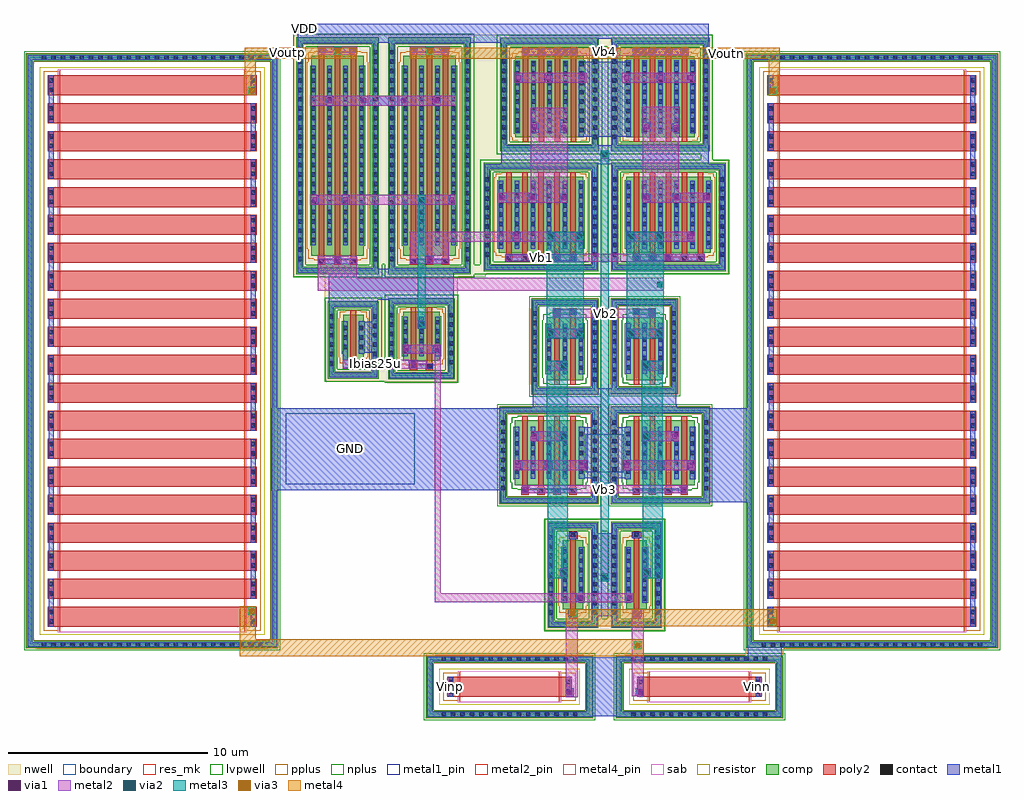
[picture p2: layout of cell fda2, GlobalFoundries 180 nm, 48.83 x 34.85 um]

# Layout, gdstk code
from math import pi, radians
import gdstk
lib = gdstk.Library(unit=1e-6, precision=1e-09)
def R(c, l, rs):  # rectangles x0, y0, x1, y1
    for r in rs: c.add(gdstk.rectangle(r[:2], r[2:], *l))
def A(c, l, x, y, w, h, nx, ny, dx, dy):  # array of equal rectangles
    R(c, l, [(x+i*dx, y+j*dy, x+i*dx+w, y+j*dy+h) for i in range(nx) for j in range(ny)])
boundary = (0, 0)
nwell = (21, 0)
comp = (22, 0)
poly2 = (30, 0)
pplus = (31, 0)
nplus = (32, 0)
contact = (33, 0)
metal1 = (34, 0)
metal1_pin = (34, 10)
via1 = (35, 0)
metal2 = (36, 0)
metal2_pin = (36, 10)
via2 = (38, 0)
via3 = (40, 0)
metal3 = (42, 0)
metal4 = (46, 0)
metal4_pin = (46, 10)
sab = (49, 0)
resistor = (62, 0)
res_mk = (110, 5)
lvpwell = (204, 0)

ppolyf_u_1k_sbhpz7 = lib.new_cell('ppolyf_u_1k_SBHPZ7')
R(ppolyf_u_1k_sbhpz7, boundary, [(-1.38,-3.99,1.38,3.99)])
R(ppolyf_u_1k_sbhpz7, comp, [(-1.56,-4.17,1.56,-3.81), (-1.56,-3.81,-1.2,3.81), (1.2,-3.81,1.56,3.81), (-1.56,3.81,1.56,4.17)])
R(ppolyf_u_1k_sbhpz7, poly2, [(-0.5,-3.11,0.5,3.11)])
R(ppolyf_u_1k_sbhpz7, pplus, [(-1.58,-4.19,1.58,-3.79), (-1.58,-3.79,-1.17,-3.685), (1.17,-3.79,1.58,-3.685), (-1.59,-3.685,-1.17,3.685), (1.17,-3.685,1.59,3.685), (-0.7,-3.31,0.7,-2.5), (-0.7,2.5,0.7,3.31), (-1.58,3.685,-1.17,3.79), (1.17,3.685,1.58,3.79), (-1.58,3.79,1.58,4.19)])
A(ppolyf_u_1k_sbhpz7, contact, -1.49, -3.4, 0.22, 0.22, 1, 15, 0, 0.47)
A(ppolyf_u_1k_sbhpz7, contact, 1.27, -3.4, 0.22, 0.22, 1, 15, 0, 0.47)
R(ppolyf_u_1k_sbhpz7, contact, [(-0.345,-3.04,-0.125,-2.82), (0.125,-3.04,0.345,-2.82), (-0.345,2.82,-0.125,3.04), (0.125,2.82,0.345,3.04)])
R(ppolyf_u_1k_sbhpz7, metal1, [(-1.495,-4.105,1.495,-3.875), (-1.495,-3.875,-1.265,3.875), (1.265,-3.875,1.495,3.875), (-0.49,-3.045,0.49,-2.815), (-0.49,2.815,0.49,3.045), (-1.495,3.875,1.495,4.105)])
R(ppolyf_u_1k_sbhpz7, sab, [(-0.78,-2.6,0.78,2.6), (-0.78,-2.5,0.78,2.5)])
R(ppolyf_u_1k_sbhpz7, resistor, [(-0.9,-3.51,0.9,3.51)])
R(ppolyf_u_1k_sbhpz7, res_mk, [(-0.78,-2.5,0.78,2.5), (-0.5,-2.5,0.5,2.5)])
R(ppolyf_u_1k_sbhpz7, lvpwell, [(-1.68,-4.29,1.68,4.29)])

ppolyf_u_1k_h7p4bw = lib.new_cell('ppolyf_u_1k_H7P4BW')
R(ppolyf_u_1k_h7p4bw, boundary, [(-14.68,-6.115,14.68,6.115)])
R(ppolyf_u_1k_h7p4bw, comp, [(-14.86,-6.295,14.86,-5.935), (-14.86,-5.935,-14.5,5.935), (14.5,-5.935,14.86,5.935), (-14.86,5.935,14.86,6.295)])
A(ppolyf_u_1k_h7p4bw, poly2, -13.8, -5.235, 1, 10.47, 20, 1, 1.4, 0)
R(ppolyf_u_1k_h7p4bw, pplus, [(-14.88,-6.315,14.88,-5.915), (-14.88,-5.915,-14.47,-5.81), (14.47,-5.915,14.88,-5.81), (-14.89,-5.81,-14.47,5.81), (14.47,-5.81,14.89,5.81), (-14,-5.435,14,-4.625), (-14,4.625,14,5.435), (-14.88,5.81,-14.47,5.915), (14.47,5.81,14.88,5.915), (-14.88,5.915,14.88,6.315)])
A(ppolyf_u_1k_h7p4bw, contact, -14.79, -5.515, 0.22, 0.22, 1, 24, 0, 0.47)
A(ppolyf_u_1k_h7p4bw, contact, 14.57, -5.515, 0.22, 0.22, 1, 24, 0, 0.47)
R(ppolyf_u_1k_h7p4bw, contact, [(-13.645,-5.165,-13.425,-4.945), (-13.175,-5.165,-12.955,-4.945), (-12.245,-5.165,-12.025,-4.945), (-11.775,-5.165,-11.555,-4.945), (-10.845,-5.165,-10.625,-4.945), (-10.375,-5.165,-10.155,-4.945), (-9.445,-5.165,-9.225,-4.945), (-8.975,-5.165,-8.755,-4.945), (-8.045,-5.165,-7.825,-4.945), (-7.575,-5.165,-7.355,-4.945), (-6.645,-5.165,-6.425,-4.945), (-6.175,-5.165,-5.955,-4.945), (-5.245,-5.165,-5.025,-4.945), (-4.775,-5.165,-4.555,-4.945), (-3.845,-5.165,-3.625,-4.945), (-3.375,-5.165,-3.155,-4.945), (-2.445,-5.165,-2.225,-4.945), (-1.975,-5.165,-1.755,-4.945), (-1.045,-5.165,-0.825,-4.945), (-0.575,-5.165,-0.355,-4.945), (0.355,-5.165,0.575,-4.945), (0.825,-5.165,1.045,-4.945), (1.755,-5.165,1.975,-4.945), (2.225,-5.165,2.445,-4.945), (3.155,-5.165,3.375,-4.945), (3.625,-5.165,3.845,-4.945), (4.555,-5.165,4.775,-4.945), (5.025,-5.165,5.245,-4.945), (5.955,-5.165,6.175,-4.945), (6.425,-5.165,6.645,-4.945), (7.355,-5.165,7.575,-4.945), (7.825,-5.165,8.045,-4.945), (8.755,-5.165,8.975,-4.945), (9.225,-5.165,9.445,-4.945), (10.155,-5.165,10.375,-4.945), (10.625,-5.165,10.845,-4.945), (11.555,-5.165,11.775,-4.945), (12.025,-5.165,12.245,-4.945), (12.955,-5.165,13.175,-4.945), (13.425,-5.165,13.645,-4.945), (-13.645,4.945,-13.425,5.165), (-13.175,4.945,-12.955,5.165), (-12.245,4.945,-12.025,5.165), (-11.775,4.945,-11.555,5.165), (-10.845,4.945,-10.625,5.165), (-10.375,4.945,-10.155,5.165), (-9.445,4.945,-9.225,5.165), (-8.975,4.945,-8.755,5.165), (-8.045,4.945,-7.825,5.165), (-7.575,4.945,-7.355,5.165), (-6.645,4.945,-6.425,5.165), (-6.175,4.945,-5.955,5.165), (-5.245,4.945,-5.025,5.165), (-4.775,4.945,-4.555,5.165), (-3.845,4.945,-3.625,5.165), (-3.375,4.945,-3.155,5.165), (-2.445,4.945,-2.225,5.165), (-1.975,4.945,-1.755,5.165), (-1.045,4.945,-0.825,5.165), (-0.575,4.945,-0.355,5.165), (0.355,4.945,0.575,5.165), (0.825,4.945,1.045,5.165), (1.755,4.945,1.975,5.165), (2.225,4.945,2.445,5.165), (3.155,4.945,3.375,5.165), (3.625,4.945,3.845,5.165), (4.555,4.945,4.775,5.165), (5.025,4.945,5.245,5.165), (5.955,4.945,6.175,5.165), (6.425,4.945,6.645,5.165), (7.355,4.945,7.575,5.165), (7.825,4.945,8.045,5.165), (8.755,4.945,8.975,5.165), (9.225,4.945,9.445,5.165), (10.155,4.945,10.375,5.165), (10.625,4.945,10.845,5.165), (11.555,4.945,11.775,5.165), (12.025,4.945,12.245,5.165), (12.955,4.945,13.175,5.165), (13.425,4.945,13.645,5.165)])
A(ppolyf_u_1k_h7p4bw, metal1, -13.79, -5.17, 0.98, 0.23, 20, 2, 1.4, 10.11)
R(ppolyf_u_1k_h7p4bw, metal1, [(-14.795,-6.23,14.795,-6), (-14.795,-6,-14.565,6), (14.565,-6,14.795,6), (-14.795,6,14.795,6.23)])
R(ppolyf_u_1k_h7p4bw, sab, [(-14.08,-4.725,14.08,4.725), (-14.08,-4.625,14.08,4.625)])
R(ppolyf_u_1k_h7p4bw, resistor, [(-14.2,-5.635,14.2,5.635)])
A(ppolyf_u_1k_h7p4bw, res_mk, -13.8, -4.625, 1, 9.25, 20, 1, 1.4, 0)
R(ppolyf_u_1k_h7p4bw, res_mk, [(-14.08,-4.625,14.08,4.625)])
R(ppolyf_u_1k_h7p4bw, lvpwell, [(-14.98,-6.415,14.98,6.415)])

nfet_03v3_h55z6x = lib.new_cell('nfet_03v3_H55Z6X')
R(nfet_03v3_h55z6x, boundary, [(-2.29,-2.255,2.29,2.255)])
R(nfet_03v3_h55z6x, comp, [(-2.47,-2.435,2.47,-2.075), (-2.47,-2.075,-2.11,2.075), (2.11,-2.075,2.47,2.075), (-1.715,-1.505,1.715,-1.195), (-1.78,-1.195,1.78,1.435), (-1.715,1.435,1.715,1.745), (-2.47,2.075,2.47,2.435)])
A(nfet_03v3_h55z6x, poly2, -1.38, -1.965, 0.36, 0.36, 4, 1, 0.8, 0)
A(nfet_03v3_h55z6x, poly2, -1.34, -1.605, 0.28, 3.57, 4, 1, 0.8, 0)
R(nfet_03v3_h55z6x, pplus, [(-2.49,-2.455,2.49,-2.055), (-2.49,-2.055,-2.08,-1.95), (2.08,-2.055,2.49,-1.95), (-2.5,-1.95,-2.08,1.95), (2.08,-1.95,2.5,1.95), (-2.49,1.95,-2.08,2.055), (2.08,1.95,2.49,2.055), (-2.49,2.055,2.49,2.455)])
R(nfet_03v3_h55z6x, nplus, [(-1.57,-1.735,1.57,-1.665), (-1.875,-1.665,1.875,-1.355), (-1.94,-1.355,1.94,1.595), (-1.875,1.595,1.875,1.905), (-1.57,1.905,1.57,1.975)])
A(nfet_03v3_h55z6x, contact, -1.31, -1.895, 0.22, 0.22, 4, 1, 0.8, 0)
A(nfet_03v3_h55z6x, contact, -2.4, -1.755, 0.22, 0.22, 1, 8, 0, 0.47)
A(nfet_03v3_h55z6x, contact, 2.18, -1.755, 0.22, 0.22, 1, 8, 0, 0.47)
A(nfet_03v3_h55z6x, contact, -1.71, -0.93, 0.22, 0.22, 5, 5, 0.8, 0.47)
A(nfet_03v3_h55z6x, metal1, -1.37, -1.9, 0.34, 0.23, 4, 1, 0.8, 0)
A(nfet_03v3_h55z6x, metal1, -1.715, -1.185, 0.23, 2.61, 5, 1, 0.8, 0)
R(nfet_03v3_h55z6x, metal1, [(-2.405,-2.37,2.405,-2.14), (-2.405,-2.14,-2.175,2.14), (2.175,-2.14,2.405,2.14), (-2.405,2.14,2.405,2.37)])
R(nfet_03v3_h55z6x, lvpwell, [(-2.59,-2.555,2.59,2.555)])

nfet_03v3_q9t6p6 = lib.new_cell('nfet_03v3_Q9T6P6')
R(nfet_03v3_q9t6p6, boundary, [(-1.49,-2.205,1.49,2.205)])
R(nfet_03v3_q9t6p6, comp, [(-1.67,-2.385,1.67,-2.025), (-1.67,-2.025,-1.31,2.025), (1.31,-2.025,1.67,2.025), (-0.915,-1.695,0.915,-1.395), (-0.98,-1.395,0.98,1.155), (-0.915,1.155,0.915,1.455), (-1.67,2.025,1.67,2.385)])
R(nfet_03v3_q9t6p6, poly2, [(-0.54,-1.915,-0.26,1.555), (0.26,-1.915,0.54,1.555), (-0.58,1.555,-0.22,1.915), (0.22,1.555,0.58,1.915)])
R(nfet_03v3_q9t6p6, pplus, [(-1.69,-2.405,1.69,-2.005), (-1.69,-2.005,-1.28,-1.9), (1.28,-2.005,1.69,-1.9), (-1.7,-1.9,-1.28,1.9), (1.28,-1.9,1.7,1.9), (-1.69,1.9,-1.28,2.005), (1.28,1.9,1.69,2.005), (-1.69,2.005,1.69,2.405)])
R(nfet_03v3_q9t6p6, nplus, [(-0.77,-1.925,0.77,-1.855), (-1.075,-1.855,1.075,-1.555), (-1.14,-1.555,1.14,1.315), (-1.075,1.315,1.075,1.615), (-0.77,1.615,0.77,1.685)])
A(nfet_03v3_q9t6p6, contact, -1.6, -1.755, 0.22, 0.22, 1, 8, 0, 0.47)
A(nfet_03v3_q9t6p6, contact, 1.38, -1.755, 0.22, 0.22, 1, 8, 0, 0.47)
A(nfet_03v3_q9t6p6, contact, -0.91, -1.17, 0.22, 0.22, 3, 5, 0.8, 0.47)
R(nfet_03v3_q9t6p6, contact, [(-0.51,1.625,-0.29,1.845), (0.29,1.625,0.51,1.845)])
A(nfet_03v3_q9t6p6, metal1, -0.915, -1.385, 0.23, 2.53, 3, 1, 0.8, 0)
R(nfet_03v3_q9t6p6, metal1, [(-1.605,-2.32,1.605,-2.09), (-1.605,-2.09,-1.375,2.09), (1.375,-2.09,1.605,2.09), (-0.57,1.62,-0.23,1.85), (0.23,1.62,0.57,1.85), (-1.605,2.09,1.605,2.32)])
R(nfet_03v3_q9t6p6, lvpwell, [(-1.79,-2.505,1.79,2.505)])

pfet_03v3_2jhb2g = lib.new_cell('pfet_03v3_2JHB2G')
R(pfet_03v3_2jhb2g, boundary, [(-1.09,-2.475,1.09,2.475)])
R(pfet_03v3_2jhb2g, nwell, [(-1.39,-2.775,1.39,2.775)])
R(pfet_03v3_2jhb2g, comp, [(-1.27,-2.655,1.27,-2.295), (-1.27,-2.295,-0.91,2.295), (0.91,-2.295,1.27,2.295), (-0.515,-1.725,0.515,-1.395), (-0.58,-1.395,0.58,1.395), (-0.515,1.395,0.515,1.725), (-1.27,2.295,1.27,2.655)])
R(pfet_03v3_2jhb2g, poly2, [(-0.18,-2.185,0.18,-1.825), (-0.14,-1.825,0.14,1.825), (-0.18,1.825,0.18,2.185)])
R(pfet_03v3_2jhb2g, pplus, [(-0.37,-1.955,0.37,-1.885), (-0.675,-1.885,0.675,-1.555), (-0.74,-1.555,0.74,1.555), (-0.675,1.555,0.675,1.885), (-0.37,1.885,0.37,1.955)])
R(pfet_03v3_2jhb2g, nplus, [(-1.43,-2.815,1.43,-2.185), (-1.43,-2.185,-0.8,2.185), (0.8,-2.185,1.43,2.185), (-1.43,2.185,1.43,2.815)])
A(pfet_03v3_2jhb2g, contact, -1.2, -1.99, 0.22, 0.22, 1, 9, 0, 0.47)
A(pfet_03v3_2jhb2g, contact, 0.98, -1.99, 0.22, 0.22, 1, 9, 0, 0.47)
A(pfet_03v3_2jhb2g, contact, -0.51, -1.285, 0.22, 0.22, 1, 6, 0, 0.47)
A(pfet_03v3_2jhb2g, contact, 0.29, -1.285, 0.22, 0.22, 1, 6, 0, 0.47)
R(pfet_03v3_2jhb2g, contact, [(-0.11,-2.115,0.11,-1.895), (-0.11,1.895,0.11,2.115)])
R(pfet_03v3_2jhb2g, metal1, [(-1.205,-2.59,1.205,-2.36), (-1.205,-2.36,-0.975,2.36), (0.975,-2.36,1.205,2.36), (-0.17,-2.12,0.17,-1.89), (-0.515,-1.385,-0.285,1.385), (0.285,-1.385,0.515,1.385), (-0.17,1.89,0.17,2.12), (-1.205,2.36,1.205,2.59)])

pfet_03v3_9x9wzq = lib.new_cell('pfet_03v3_9X9WZQ')
R(pfet_03v3_9x9wzq, boundary, [(-1.89,-5.75,1.89,5.75)])
R(pfet_03v3_9x9wzq, nwell, [(-2.19,-6.05,2.19,6.05)])
R(pfet_03v3_9x9wzq, comp, [(-2.07,-5.93,2.07,-5.57), (-2.07,-5.57,-1.71,5.57), (1.71,-5.57,2.07,5.57), (-1.315,-5,1.315,-4.505), (-1.38,-4.505,1.38,4.505), (-1.315,4.505,1.315,5), (-2.07,5.57,2.07,5.93)])
A(pfet_03v3_9x9wzq, poly2, -0.98, -5.46, 0.36, 0.36, 3, 2, 0.8, 10.56)
A(pfet_03v3_9x9wzq, poly2, -0.94, -5.1, 0.28, 10.2, 3, 1, 0.8, 0)
R(pfet_03v3_9x9wzq, pplus, [(-1.17,-5.23,1.17,-5.16), (-1.475,-5.16,1.475,-4.665), (-1.54,-4.665,1.54,4.665), (-1.475,4.665,1.475,5.16), (-1.17,5.16,1.17,5.23)])
R(pfet_03v3_9x9wzq, nplus, [(-2.23,-6.09,2.23,-5.46), (-2.23,-5.46,-1.6,5.46), (1.6,-5.46,2.23,5.46), (-2.23,5.46,2.23,6.09)])
A(pfet_03v3_9x9wzq, contact, -0.91, -5.39, 0.22, 0.22, 3, 2, 0.8, 10.56)
A(pfet_03v3_9x9wzq, contact, -2, -5.28, 0.22, 0.22, 1, 23, 0, 0.47)
A(pfet_03v3_9x9wzq, contact, 1.78, -5.28, 0.22, 0.22, 1, 23, 0, 0.47)
A(pfet_03v3_9x9wzq, contact, -1.31, -4.34, 0.22, 0.22, 4, 19, 0.8, 0.47)
A(pfet_03v3_9x9wzq, metal1, -0.97, -5.395, 0.34, 0.23, 3, 2, 0.8, 10.56)
A(pfet_03v3_9x9wzq, metal1, -1.315, -4.495, 0.23, 8.99, 4, 1, 0.8, 0)
R(pfet_03v3_9x9wzq, metal1, [(-2.005,-5.865,2.005,-5.635), (-2.005,-5.635,-1.775,5.635), (1.775,-5.635,2.005,5.635), (-2.005,5.635,2.005,5.865)])

pfet_03v3_npq64b = lib.new_cell('pfet_03v3_NPQ64B')
R(pfet_03v3_npq64b, boundary, [(-1.09,-1.765,1.09,1.765)])
R(pfet_03v3_npq64b, nwell, [(-1.39,-2.065,1.39,2.065)])
R(pfet_03v3_npq64b, comp, [(-1.27,-1.945,1.27,-1.585), (-1.27,-1.585,-0.91,1.585), (0.91,-1.585,1.27,1.585), (-0.515,-1.015,0.515,-0.695), (-0.58,-0.695,0.58,0.935), (-0.515,0.935,0.515,1.255), (-1.27,1.585,1.27,1.945)])
R(pfet_03v3_npq64b, poly2, [(-0.18,-1.475,0.18,-1.115), (-0.14,-1.115,0.14,1.475)])
R(pfet_03v3_npq64b, pplus, [(-0.37,-1.245,0.37,-1.175), (-0.675,-1.175,0.675,-0.855), (-0.74,-0.855,0.74,1.095), (-0.675,1.095,0.675,1.415), (-0.37,1.415,0.37,1.485)])
R(pfet_03v3_npq64b, nplus, [(-1.43,-2.105,1.43,-1.475), (-1.43,-1.475,-0.8,1.475), (0.8,-1.475,1.43,1.475), (-1.43,1.475,1.43,2.105)])
A(pfet_03v3_npq64b, contact, -1.2, -1.285, 0.22, 0.22, 1, 6, 0, 0.47)
A(pfet_03v3_npq64b, contact, 0.98, -1.285, 0.22, 0.22, 1, 6, 0, 0.47)
A(pfet_03v3_npq64b, contact, -0.51, -0.46, 0.22, 0.22, 1, 3, 0, 0.47)
A(pfet_03v3_npq64b, contact, 0.29, -0.46, 0.22, 0.22, 1, 3, 0, 0.47)
R(pfet_03v3_npq64b, contact, [(-0.11,-1.405,0.11,-1.185)])
R(pfet_03v3_npq64b, metal1, [(-1.205,-1.88,1.205,-1.65), (-1.205,-1.65,-0.975,1.65), (0.975,-1.65,1.205,1.65), (-0.17,-1.41,0.17,-1.18), (-0.515,-0.685,-0.285,0.925), (0.285,-0.685,0.515,0.925), (-1.205,1.65,1.205,1.88)])

pfet_03v3_ph8h39 = lib.new_cell('pfet_03v3_PH8H39')
R(pfet_03v3_ph8h39, boundary, [(-1.49,-1.855,1.49,1.855)])
R(pfet_03v3_ph8h39, nwell, [(-1.79,-2.155,1.79,2.155)])
R(pfet_03v3_ph8h39, comp, [(-1.67,-2.035,1.67,-1.675), (-1.67,-1.675,-1.31,1.675), (1.31,-1.675,1.67,1.675), (-0.915,-1.105,0.915,-0.875), (-0.98,-0.875,0.98,1.115), (-0.915,1.115,0.915,1.345), (-1.67,1.675,1.67,2.035)])
R(pfet_03v3_ph8h39, poly2, [(-0.58,-1.565,-0.22,-1.205), (0.22,-1.565,0.58,-1.205), (-0.54,-1.205,-0.26,1.565), (0.26,-1.205,0.54,1.565)])
R(pfet_03v3_ph8h39, pplus, [(-0.77,-1.335,0.77,-1.265), (-1.075,-1.265,1.075,-1.035), (-1.14,-1.035,1.14,1.275), (-1.075,1.275,1.075,1.505), (-0.77,1.505,0.77,1.575)])
R(pfet_03v3_ph8h39, nplus, [(-1.83,-2.195,1.83,-1.565), (-1.83,-1.565,-1.2,1.565), (1.2,-1.565,1.83,1.565), (-1.83,1.565,1.83,2.195)])
A(pfet_03v3_ph8h39, contact, -1.6, -1.285, 0.22, 0.22, 1, 6, 0, 0.47)
A(pfet_03v3_ph8h39, contact, 1.38, -1.285, 0.22, 0.22, 1, 6, 0, 0.47)
A(pfet_03v3_ph8h39, contact, -0.91, -0.695, 0.22, 0.22, 3, 4, 0.8, 0.47)
R(pfet_03v3_ph8h39, contact, [(-0.51,-1.495,-0.29,-1.275), (0.29,-1.495,0.51,-1.275)])
A(pfet_03v3_ph8h39, metal1, -0.915, -0.865, 0.23, 1.97, 3, 1, 0.8, 0)
R(pfet_03v3_ph8h39, metal1, [(-1.605,-1.97,1.605,-1.74), (-1.605,-1.74,-1.375,1.74), (1.375,-1.74,1.605,1.74), (-0.57,-1.5,-0.23,-1.27), (0.23,-1.5,0.57,-1.27), (-1.605,1.74,1.605,1.97)])

pfet_03v3_bgxdrv = lib.new_cell('pfet_03v3_BGXDRV')
R(pfet_03v3_bgxdrv, boundary, [(-2.29,-2.655,2.29,2.655)])
R(pfet_03v3_bgxdrv, nwell, [(-2.59,-2.955,2.59,2.955)])
R(pfet_03v3_bgxdrv, comp, [(-2.47,-2.835,2.47,-2.475), (-2.47,-2.475,-2.11,2.475), (2.11,-2.475,2.47,2.475), (-1.715,-2.145,1.715,-1.95), (-1.78,-1.95,1.78,1.71), (-1.715,1.71,1.715,1.905), (-2.47,2.475,2.47,2.835)])
A(pfet_03v3_bgxdrv, poly2, -1.34, -2.365, 0.28, 4.37, 4, 1, 0.8, 0)
A(pfet_03v3_bgxdrv, poly2, -1.38, 2.005, 0.36, 0.36, 4, 1, 0.8, 0)
R(pfet_03v3_bgxdrv, pplus, [(-1.57,-2.375,1.57,-2.305), (-1.875,-2.305,1.875,-2.11), (-1.94,-2.11,1.94,1.87), (-1.875,1.87,1.875,2.065), (-1.57,2.065,1.57,2.135)])
R(pfet_03v3_bgxdrv, nplus, [(-2.63,-2.995,2.63,-2.365), (-2.63,-2.365,-2,2.365), (2,-2.365,2.63,2.365), (-2.63,2.365,2.63,2.995)])
A(pfet_03v3_bgxdrv, contact, -2.4, -2.225, 0.22, 0.22, 1, 10, 0, 0.47)
A(pfet_03v3_bgxdrv, contact, 2.18, -2.225, 0.22, 0.22, 1, 10, 0, 0.47)
A(pfet_03v3_bgxdrv, contact, -1.71, -1.875, 0.22, 0.22, 5, 8, 0.8, 0.47)
A(pfet_03v3_bgxdrv, contact, -1.31, 2.075, 0.22, 0.22, 4, 1, 0.8, 0)
A(pfet_03v3_bgxdrv, metal1, -1.715, -1.94, 0.23, 3.64, 5, 1, 0.8, 0)
A(pfet_03v3_bgxdrv, metal1, -1.37, 2.07, 0.34, 0.23, 4, 1, 0.8, 0)
R(pfet_03v3_bgxdrv, metal1, [(-2.405,-2.77,2.405,-2.54), (-2.405,-2.54,-2.175,2.54), (2.175,-2.54,2.405,2.54), (-2.405,2.54,2.405,2.77)])

pfet_03v3_k6vr6n = lib.new_cell('pfet_03v3_K6VR6N')
R(pfet_03v3_k6vr6n, boundary, [(-2.69,-2.53,2.69,2.53)])
R(pfet_03v3_k6vr6n, nwell, [(-2.99,-2.83,2.99,2.83)])
R(pfet_03v3_k6vr6n, comp, [(-2.87,-2.71,2.87,-2.35), (-2.87,-2.35,-2.51,2.35), (2.51,-2.35,2.87,2.35), (-2.115,-1.78,2.115,-1.595), (-2.18,-1.595,2.18,1.835), (-2.115,1.835,2.115,2.02), (-2.87,2.35,2.87,2.71)])
A(pfet_03v3_k6vr6n, poly2, -1.78, -2.24, 0.36, 0.36, 5, 1, 0.8, 0)
A(pfet_03v3_k6vr6n, poly2, -1.74, -1.88, 0.28, 4.12, 5, 1, 0.8, 0)
R(pfet_03v3_k6vr6n, pplus, [(-1.97,-2.01,1.97,-1.94), (-2.275,-1.94,2.275,-1.755), (-2.34,-1.755,2.34,1.995), (-2.275,1.995,2.275,2.18), (-1.97,2.18,1.97,2.25)])
R(pfet_03v3_k6vr6n, nplus, [(-3.03,-2.87,3.03,-2.24), (-3.03,-2.24,-2.4,2.24), (2.4,-2.24,3.03,2.24), (-3.03,2.24,3.03,2.87)])
A(pfet_03v3_k6vr6n, contact, -1.71, -2.17, 0.22, 0.22, 5, 1, 0.8, 0)
A(pfet_03v3_k6vr6n, contact, -2.8, -1.99, 0.22, 0.22, 1, 9, 0, 0.47)
A(pfet_03v3_k6vr6n, contact, 2.58, -1.99, 0.22, 0.22, 1, 9, 0, 0.47)
A(pfet_03v3_k6vr6n, contact, -2.11, -1.4, 0.22, 0.22, 6, 7, 0.8, 0.47)
A(pfet_03v3_k6vr6n, metal1, -1.77, -2.175, 0.34, 0.23, 5, 1, 0.8, 0)
A(pfet_03v3_k6vr6n, metal1, -2.115, -1.585, 0.23, 3.41, 6, 1, 0.8, 0)
R(pfet_03v3_k6vr6n, metal1, [(-2.805,-2.645,2.805,-2.415), (-2.805,-2.415,-2.575,2.415), (2.575,-2.415,2.805,2.415), (-2.805,2.415,2.805,2.645)])

foldedcasc_cmfb_forlayou = lib.new_cell('foldedcasc_cmfb_forlayout')
R(foldedcasc_cmfb_forlayou, nwell, [(4.2,-11.85,4.6,-6.3), (-6.8,0.6,-6.5,4.65), (-9.6,4.65,-6.5,4.7), (-9.6,4.7,-2.95,6), (-2.2,5.85,-1.55,6), (-6.8,6,-6.55,17.95), (-2.2,6,-1.75,11.65), (4.2,6,4.65,11.65), (-2.2,11.65,9.8,12), (-2.2,12,-0.95,17.85), (4.2,12,9.8,12.1), (4.2,12.1,4.6,17.8), (4.2,17.8,9.75,17.95), (-2.2,17.85,-0.4,17.95)])
R(foldedcasc_cmfb_forlayou, nplus, [(4.245,-11.89,4.56,-11.26), (4.245,-6.89,4.56,-6.26), (-6.745,0.575,-6.595,1.205), (-2.13,5.955,-1.815,6.44), (4.245,5.96,4.565,6.59), (-6.73,6.455,-6.59,17.99), (9.21,11.7,9.82,11.965), (4.27,17.36,4.56,17.95)])
R(foldedcasc_cmfb_forlayou, metal1, [(2.55,-11.2,3.05,-10.9), (5.75,-11.2,6.25,-10.9), (3.8,-11.15,5,-10.6), (3.9,-10.6,4.9,-10.2), (2.95,-10.45,3.3,-10), (5.5,-10.45,5.85,-10), (3.8,-10.2,5,-7), (2.15,-9.15,2.3,-9.1), (6.5,-9.15,6.7,-9.1), (2.15,-9.1,2.5,-8.8), (6.35,-9.1,6.7,-8.8), (2.15,-8.8,2.3,-8.75), (6.5,-8.8,6.7,-8.75), (2.6,-7.3,3.05,-6.95), (5.75,-7.25,6.25,-6.95), (0.5,-5,3,-4.95), (5.8,-5,8.55,-4.75), (0.25,-4.95,3,-4.75), (0.25,-4.75,0.65,-4.6), (8.15,-4.75,8.55,-4.6), (3.8,-4.5,5,-4.25), (3.1,-4.25,5.7,-3.75), (0.1,-3.8,0.3,-3.75), (1.4,-3.8,1.6,-3.75), (1.65,-3.8,1.8,-3.75), (7,-3.8,7.4,-3.4), (8.5,-3.8,8.7,-3.75), (-0.05,-3.75,0.3,-3.45), (1.4,-3.75,1.8,-3.45), (3.15,-3.75,5.65,-3.45), (8.5,-3.75,8.85,-3.45), (0.1,-3.45,0.3,-3.4), (1.4,-3.45,1.6,-3.4), (1.65,-3.45,1.8,-3.4), (3.1,-3.45,5.7,-1.7), (8.5,-3.45,8.7,-3.4), (0.9,-2.35,1.1,-2.3), (2.15,-2.35,2.3,-2.3), (6.5,-2.35,6.65,-2.3), (7.7,-2.35,7.9,-2.3), (0.75,-2.3,1.1,-2), (2.15,-2.3,2.5,-2), (6.3,-2.3,6.65,-2), (7.7,-2.3,8.05,-2), (0.9,-2,1.1,-1.95), (2.15,-2,2.3,-1.95), (6.5,-2,6.65,-1.95), (7.7,-2,7.9,-1.95), (3.8,-1.7,5,-1.35), (3.95,-1.35,4.85,-0.85), (3.95,-0.85,8,-0.8), (0.8,-0.8,8,-0.6), (0.8,-0.6,7.99,-0.55), (0.805,-0.55,7.99,0.26), (2.15,1.2,2.3,1.25), (6.5,1.2,6.65,1.25), (-5.4,1.25,-4.2,1.5), (2.15,1.25,2.5,1.55), (6.3,1.25,6.65,1.55), (-8.7,1.3,-8.3,1.35), (-8.05,1.3,-7.95,1.35), (-8.7,1.35,-7.95,1.7), (-5.4,1.5,-4.95,1.65), (2.15,1.55,2.3,1.6), (6.5,1.55,6.65,1.6), (-8.7,1.7,-8.45,2.1), (-7.1,1.7,-7,1.85), (-7.2,1.85,-7,2.05), (-7.9,2.05,-7,3.6), (-5.45,2.05,-5.3,2.1), (-4.25,2.05,-4.05,2.1), (-5.65,2.1,-5.3,2.4), (-4.25,2.1,-3.9,2.4), (-5.45,2.4,-5.3,2.45), (-4.25,2.4,-4.05,2.45), (1.5,2.8,1.9,3.2), (2.95,2.8,3.35,3.2), (5.7,2.8,5.9,2.85), (6.95,2.8,7.3,3.2), (5.55,2.85,5.9,3.15), (5.7,3.15,5.9,3.2), (-4.95,3.25,-4.55,3.65), (-7.2,3.6,-7,3.9), (1.8,3.8,2.2,3.95), (6.55,3.8,6.95,3.95), (1.8,3.95,3,4.2), (5.8,3.95,6.95,4.2), (-9.4,4.55,-6.95,4.7), (-6.2,4.65,-3.4,4.7), (-9.4,4.7,-3.15,6.25), (-9.9,6.5,-8,6.75), (-5.3,6.5,-3.4,6.75), (-0.55,6.65,3,6.95), (5.8,6.65,9.4,7), (-9.2,6.75,-8.8,6.9), (-4.55,6.75,-4.15,6.9), (5.7,7.6,5.9,7.7), (-0.2,7.65,0.2,8.05), (1.5,7.65,1.9,8.05), (2.95,7.65,3.35,8.05), (6.95,7.65,7.35,8.05), (8.5,7.65,8.7,7.7), (5.55,7.7,5.9,8), (8.5,7.7,8.85,8), (5.7,8,5.9,8.1), (8.5,8,8.7,8.1), (-10.3,9.5,-9.9,9.9), (-8.75,9.5,-8.35,9.9), (-4.95,9.5,-4.55,9.9), (-3.45,9.5,-3.05,9.9), (-0.7,9.55,-0.5,9.65), (0.6,9.55,1,10), (2.15,9.55,2.3,9.65), (7.8,9.55,8.2,10.05), (9.3,9.55,9.5,9.65), (6.5,9.6,6.7,9.65), (-0.85,9.65,-0.5,9.95), (2.15,9.65,2.5,9.95), (6.35,9.65,6.7,9.95), (9.3,9.65,9.65,9.95), (-0.7,9.95,-0.5,10.05), (2.15,9.95,2.3,10), (6.5,9.95,6.7,10), (9.3,9.95,9.5,10.05), (-0.8,11.35,4.05,11.48), (4.75,11.45,9.6,11.48), (-0.8,11.48,9.6,11.55), (-0.78,11.55,9.6,12.41), (3.1,12.85,5.7,15.55), (0.95,13.05,1.1,13.2), (2.15,13.05,2.35,13.15), (6.5,13.1,6.7,13.2), (7.75,13.1,7.9,13.15), (2.15,13.15,2.5,13.6), (7.75,13.15,8.1,13.45), (0.75,13.2,1.1,13.5), (6.35,13.2,6.7,13.5), (7.75,13.45,7.9,13.5), (0.95,13.5,1.1,13.55), (6.5,13.5,6.7,13.55), (2.15,13.6,2.35,13.7), (-7.85,14.4,-5.5,14.9), (-9.55,14.45,-9.15,14.85), (-4.2,14.45,-3.8,14.85), (0.15,15.55,0.3,15.65), (1.4,15.55,1.8,16.05), (3.1,15.55,3.15,15.7), (3.35,15.55,5.5,15.65), (7,15.55,7.4,16.05), (8.5,15.55,8.7,15.6), (8.5,15.6,8.85,15.95), (-0.05,15.65,0.3,15.95), (3.35,15.65,5.65,15.7), (3.1,15.7,5.65,15.95), (0.15,15.95,0.3,16.05), (3.1,15.95,5.5,16), (8.5,15.95,8.7,16), (3.1,16,3.15,16.05), (3.35,16,5.5,16.05), (8.5,16,8.9,16.05), (3.1,16.05,5.7,16.6), (-9.15,16.95,-8.75,17.05), (-4.55,16.95,-4.15,17.05), (0.25,16.95,3.05,17.25), (5.8,16.95,8.6,17.25), (-9.95,17.05,-8.05,17.3), (-5.3,17.05,-3.4,17.3), (-10.95,17.55,-0.75,17.65), (4.75,17.6,9.6,17.74), (-10.95,17.65,4.05,17.74), (-10.95,17.74,9.6,18.5)])
R(foldedcasc_cmfb_forlayou, metal1_pin, [(2.55,-11.2,3.05,-10.9), (5.75,-11.2,6.25,-10.9), (3.45,-3.95,5.35,-2.05), (-10.85,18.05,-10.4,18.45)])
A(foldedcasc_cmfb_forlayou, via1, 6.37, 9.67, 0.26, 0.26, 3, 1, 1.5, 0)
R(foldedcasc_cmfb_forlayou, via1, [(3.02,-10.33,3.28,-10.07), (5.52,-10.33,5.78,-10.07), (4.27,-9.33,4.53,-9.07), (2.22,-9.08,2.48,-8.82), (6.37,-9.08,6.63,-8.82), (0.32,-4.93,0.58,-4.67), (8.22,-4.93,8.48,-4.67), (-0.03,-3.73,0.23,-3.47), (1.47,-3.73,1.73,-3.47), (3.17,-3.73,3.43,-3.47), (5.37,-3.73,5.63,-3.47), (7.07,-3.73,7.33,-3.47), (8.57,-3.73,8.83,-3.47), (0.77,-2.28,1.03,-2.02), (2.22,-2.28,2.48,-2.02), (6.32,-2.28,6.58,-2.02), (7.77,-2.28,8.03,-2.02), (2.22,1.27,2.48,1.53), (6.32,1.27,6.58,1.53), (-5.28,1.32,-5.02,1.58), (-8.33,1.37,-8.07,1.63), (-5.63,2.12,-5.37,2.38), (-4.18,2.12,-3.92,2.38), (1.57,2.87,1.83,3.13), (3.02,2.87,3.28,3.13), (5.57,2.87,5.83,3.13), (7.02,2.87,7.28,3.13), (-4.88,3.32,-4.62,3.58), (1.87,3.87,2.13,4.13), (6.62,3.87,6.88,4.13), (-9.13,6.57,-8.87,6.83), (-4.48,6.57,-4.22,6.83), (1.07,6.67,1.33,6.93), (7.42,6.67,7.68,6.93), (-0.13,7.72,0.13,7.98), (1.57,7.72,1.83,7.98), (3.02,7.72,3.28,7.98), (5.57,7.72,5.83,7.98), (7.02,7.72,7.28,7.98), (8.57,7.72,8.83,7.98), (-10.23,9.57,-9.97,9.83), (-8.68,9.57,-8.42,9.83), (-4.88,9.57,-4.62,9.83), (-3.38,9.57,-3.12,9.83), (-0.83,9.67,-0.57,9.93), (0.67,9.67,0.93,9.93), (2.22,9.67,2.48,9.93), (4.27,11.82,4.53,12.08), (2.22,13.17,2.48,13.43), (7.82,13.17,8.08,13.43), (0.77,13.22,1.03,13.48), (6.37,13.22,6.63,13.48), (-9.48,14.52,-9.22,14.78), (-7.78,14.52,-7.52,14.78), (-5.78,14.52,-5.52,14.78), (-4.13,14.52,-3.87,14.78), (-0.03,15.67,0.23,15.93), (1.47,15.67,1.73,15.93), (5.37,15.67,5.63,15.93), (7.07,15.67,7.33,15.93), (8.57,15.67,8.83,15.93), (3.17,15.72,3.43,15.98), (2.295,16.97,2.555,17.23), (6.245,16.97,6.505,17.23), (-9.08,17.02,-8.82,17.28), (-4.48,17.02,-4.22,17.28)])
R(foldedcasc_cmfb_forlayou, metal2, [(-4.1,-10.45,5.85,-10), (-4.1,-10,-3.8,2), (4.2,-9.4,4.6,-9), (2.15,-9.15,2.55,-8.75), (6.3,-9.15,6.7,-8.75), (0.25,-5,8.55,-4.6), (-0.1,-3.85,3.5,-3.35), (5.3,-3.85,8.9,-3.35), (0.7,-2.4,2.55,-1.9), (6.25,-2.4,8.1,-1.9), (1.5,1.15,2.55,1.65), (6.25,1.15,7.3,1.65), (-8.7,1.25,-4.5,1.65), (-8.7,1.65,-4.95,1.7), (-5.7,2,-3.8,2.45), (1.5,2.75,3.35,3.25), (5.5,2.75,7.35,3.25), (-4.95,3.25,-4.55,3.65), (1.8,3.8,6.95,4.25), (-9.95,5.15,7.35,5.8), (-9.95,5.8,-8,6.9), (-5.35,6.5,-3.4,7.6), (-0.55,6.6,9.4,7), (-5.35,7.6,3.35,8.1), (5.5,7.6,8.9,8.1), (-10.3,9.45,-3.05,9.95), (-0.9,9.55,2.55,10.05), (6.3,9.55,9.7,10.05), (0.7,10.05,2.55,14.3), (6.3,10.05,8.1,12.85), (4.2,11.75,4.6,12.15), (6.3,12.85,8.15,14.35), (-10.3,14.4,-3.05,14.9), (-0.1,15.55,3.5,16.05), (5.25,15.55,8.95,16.05), (0.25,16.9,8.6,17.3), (-9.95,16.95,-8,17.35), (-5.35,16.95,-3.4,17.35)])
R(foldedcasc_cmfb_forlayou, metal2_pin, [(4.1,-5,4.7,-4.7), (-7.5,1.3,-5.8,1.6), (4.15,3.8,4.6,4.25), (-0.55,6.65,3,6.95), (-9.95,16.95,-8,17.35), (-5.35,16.95,-3.4,17.35), (0.25,16.95,3.05,17.25)])
R(foldedcasc_cmfb_forlayou, via2, [(4.27,-9.33,4.53,-9.07), (2.22,-9.08,2.48,-8.82), (6.37,-9.08,6.63,-8.82), (2.22,-2.28,2.48,-2.02), (6.32,-2.28,6.58,-2.02), (2.22,1.27,2.48,1.53), (6.32,1.27,6.58,1.53), (1.57,2.87,1.83,3.13), (3.02,2.87,3.28,3.13), (5.57,2.87,5.83,3.13), (7.02,2.87,7.28,3.13), (-4.88,3.32,-4.62,3.58), (7.02,5.32,7.28,5.58), (1.57,7.72,1.83,7.98), (3.02,7.72,3.28,7.98), (5.57,7.72,5.83,7.98), (7.02,7.72,7.28,7.98), (-4.88,9.57,-4.62,9.83), (4.27,11.82,4.53,12.08)])
R(foldedcasc_cmfb_forlayou, metal3, [(4.2,-9.4,4.6,12.15), (1.55,-9.25,2.55,-2.4), (6.3,-9.25,7.3,-2.4), (1.5,-2.4,2.55,1.65), (6.25,-2.4,7.3,1.65), (1.5,2.75,3.35,8.1), (5.5,2.75,7.35,8.1), (-4.95,3.25,-4.55,9.95)])
foldedcasc_cmfb_forlayou.add(gdstk.Reference(nfet_03v3_h55z6x, (1.615,-3.09)))
foldedcasc_cmfb_forlayou.add(gdstk.Reference(nfet_03v3_q9t6p6, (2.415,2.35)))
foldedcasc_cmfb_forlayou.add(gdstk.Reference(nfet_03v3_h55z6x, (7.185,-3.095)))
foldedcasc_cmfb_forlayou.add(gdstk.Reference(nfet_03v3_q9t6p6, (6.385,2.36)))
foldedcasc_cmfb_forlayou.add(gdstk.Reference(pfet_03v3_2jhb2g, (2.815,-9.075)))
foldedcasc_cmfb_forlayou.add(gdstk.Reference(pfet_03v3_2jhb2g, (5.99,-9.075)))
foldedcasc_cmfb_forlayou.add(gdstk.Reference(pfet_03v3_9x9wzq, (-8.96,11.9)))
foldedcasc_cmfb_forlayou.add(gdstk.Reference(pfet_03v3_9x9wzq, (-4.36,11.9)))
foldedcasc_cmfb_forlayou.add(gdstk.Reference(pfet_03v3_npq64b, (-8.175,2.68)))
foldedcasc_cmfb_forlayou.add(gdstk.Reference(pfet_03v3_ph8h39, (-4.765,2.74)))
foldedcasc_cmfb_forlayou.add(gdstk.Reference(pfet_03v3_bgxdrv, (1.64,14.955)))
foldedcasc_cmfb_forlayou.add(gdstk.Reference(pfet_03v3_k6vr6n, (1.215,8.825)))
foldedcasc_cmfb_forlayou.add(gdstk.Reference(pfet_03v3_bgxdrv, (7.19,14.96)))
foldedcasc_cmfb_forlayou.add(gdstk.Reference(pfet_03v3_k6vr6n, (7.595,8.83)))
foldedcasc_cmfb_forlayou.add(gdstk.Label('Vb4', (1.65,17.1), layer=36, texttype=10))
foldedcasc_cmfb_forlayou.add(gdstk.Label('Vb1', (1.225,6.8), layer=36, texttype=10))
foldedcasc_cmfb_forlayou.add(gdstk.Label('Vb3', (4.4,-4.85), layer=36, texttype=10))
foldedcasc_cmfb_forlayou.add(gdstk.Label('Voutp', (-8.975,17.15), layer=36, texttype=10))
foldedcasc_cmfb_forlayou.add(gdstk.Label('Voutn', (-4.375,17.15), layer=36, texttype=10))
foldedcasc_cmfb_forlayou.add(gdstk.Label('Ibias25u', (-6.65,1.45), layer=36, texttype=10))
foldedcasc_cmfb_forlayou.add(gdstk.Label('Vb2', (4.375,4.025), layer=36, texttype=10))
foldedcasc_cmfb_forlayou.add(gdstk.Label('VDD', (-10.625,18.25), layer=34, texttype=10))
foldedcasc_cmfb_forlayou.add(gdstk.Label('Vinp', (2.8,-11.05), layer=34, texttype=10))
foldedcasc_cmfb_forlayou.add(gdstk.Label('Vinn', (6,-11.05), layer=34, texttype=10))
foldedcasc_cmfb_forlayou.add(gdstk.Label('GND', (4.4,-3), layer=34, texttype=10))

fda2 = lib.new_cell('fda2')
R(fda2, pplus, [(23.975,-1.24,24.48,-1.23), (22.6,-1.23,24.48,-0.91), (22.6,-0.91,23.105,-0.9)])
A(fda2, metal1, -12.25, 0.2, 0.25, 2.35, 1, 10, 0, 2.8)
A(fda2, metal1, 33.85, 0.2, 0.25, 2.35, 1, 10, 0, 2.8)
A(fda2, metal1, -2.15, 1.6, 0.25, 2.35, 1, 9, 0, 2.8)
A(fda2, metal1, 23.75, 1.6, 0.25, 2.35, 1, 9, 0, 2.8)
R(fda2, metal1, [(14.8,-4.3,16.3,-1.35), (7.75,-3.3,7.95,-2.35), (13.6,-3.3,14,-2.9), (17.1,-3.3,17.3,-3.25), (23.1,-3.3,23.3,-2.35), (17.1,-3.25,17.45,-2.95), (17.1,-2.95,17.3,-2.9), (22.7,-1.35,24.4,-0.8), (23.75,0.25,24.15,0.65), (16.9,0.65,17.4,1.05), (13.8,0.7,14.1,0.95), (-2.3,0.75,-1.9,1.15), (13.7,0.95,14.2,1.05), (20.7,6.4,22.9,11.1), (-1.1,7,10.4,11.1), (-2.3,26.8,-1.9,27.2), (23.75,26.8,24.15,27.2), (0.3,29.9,0.75,30.3)])
R(fda2, metal1_pin, [(7.75,-3.3,7.95,-2.35), (23.1,-3.3,23.3,-2.35), (-0.4,7.3,6.05,10.85), (0.3,29.9,0.75,30.3)])
R(fda2, via1, [(13.67,-3.23,13.93,-2.97), (17.17,-3.23,17.43,-2.97), (23.82,0.32,24.08,0.58), (13.82,0.72,14.08,0.98), (17.02,0.72,17.28,0.98), (-2.23,0.82,-1.97,1.08), (-2.23,26.87,-1.97,27.13), (23.82,26.87,24.08,27.13)])
R(fda2, metal2, [(13.6,-3.35,14.2,1.05), (16.9,-3.3,17.5,1.05), (23.75,0.25,24.15,0.65), (-2.3,0.75,-1.9,1.15), (15.3,6.9,15.8,7.2), (3.6,13.2,4.6,13.5), (15.4,15.7,15.75,16.05), (10.6,18.5,14.15,18.8), (-2.3,26.8,-1.9,27.2), (23.75,26.8,24.15,27.2), (2,28.8,2.4,29.2), (15.3,28.8,15.8,29.1), (6.65,28.85,6.95,29.15)])
R(fda2, metal2_pin, [(15.3,6.9,15.8,7.2), (3.6,13.2,4.6,13.5), (15.4,15.7,15.75,16.05), (10.6,18.5,14.15,18.8), (15.3,28.8,15.8,29.1)])
R(fda2, via2, [(17.07,-0.88,17.33,-0.62), (23.82,0.32,24.08,0.58), (13.82,0.72,14.08,0.98), (-2.23,0.82,-1.97,1.08), (-2.23,26.87,-1.97,27.13), (23.82,26.87,24.08,27.13), (2.07,28.87,2.33,29.13), (6.67,28.87,6.93,29.13)])
R(fda2, via3, [(17.07,-0.88,17.33,-0.62), (23.82,0.32,24.08,0.58), (13.82,0.72,14.08,0.98), (-2.23,0.82,-1.97,1.08), (-2.23,26.87,-1.97,27.13), (23.82,26.87,24.08,27.13), (2.07,28.87,2.33,29.13), (6.67,28.87,6.93,29.13)])
R(fda2, metal3, [(17,-0.95,17.4,-0.55), (23.75,0.25,24.15,0.65), (13.75,0.65,14.15,1.05), (-2.3,0.75,-1.9,1.15), (-2.3,26.8,-1.9,27.2), (23.75,26.8,24.15,27.2), (2,28.8,2.4,29.2), (6.6,28.8,7,29.2)])
R(fda2, metal4, [(-2.7,-1.3,17.5,-0.45), (-2.7,-0.45,-1.9,1.2), (13.6,0.2,24.15,1.05), (23.75,26.75,24.3,28.6), (-2.45,26.8,-1.9,28.6), (-2.45,28.6,3.15,29.15), (5.8,28.6,24.3,29.15)])
R(fda2, metal4_pin, [(21.35,28.65,21.9,29.05), (-0.6,28.7,-0.05,29.1)])
fda2.add(gdstk.Reference(ppolyf_u_1k_sbhpz7, (20.29,-2.82), rotation=3*pi/2))
fda2.add(gdstk.Reference(ppolyf_u_1k_sbhpz7, (10.79,-2.82), rotation=3*pi/2))
fda2.add(gdstk.Reference(ppolyf_u_1k_h7p4bw, (-7.085,13.98), rotation=3*pi/2))
fda2.add(gdstk.Reference(ppolyf_u_1k_h7p4bw, (28.915,13.98), rotation=3*pi/2))
fda2.add(gdstk.Reference(foldedcasc_cmfb_forlayou, (11.15,11.85)))
fda2.add(gdstk.Label('Ibias25u', (4.1,13.35), layer=36, texttype=10))
fda2.add(gdstk.Label('Vb1', (12.375,18.65), layer=36, texttype=10))
fda2.add(gdstk.Label('Vb2', (15.575,15.875), layer=36, texttype=10))
fda2.add(gdstk.Label('Vb3', (15.55,7.05), layer=36, texttype=10))
fda2.add(gdstk.Label('Vb4', (15.55,28.95), layer=36, texttype=10))
fda2.add(gdstk.Label('VDD', (0.525,30.1), layer=34, texttype=10))
fda2.add(gdstk.Label('GND', (2.825,9.075), layer=34, texttype=10))
fda2.add(gdstk.Label('Vinp', (7.85,-2.825), layer=34, texttype=10))
fda2.add(gdstk.Label('Vinn', (23.2,-2.825), layer=34, texttype=10))
fda2.add(gdstk.Label('Voutp', (-0.325,28.9), layer=46, texttype=10))
fda2.add(gdstk.Label('Voutn', (21.625,28.85), layer=46, texttype=10))

lib.write_gds('fda2.gds')
